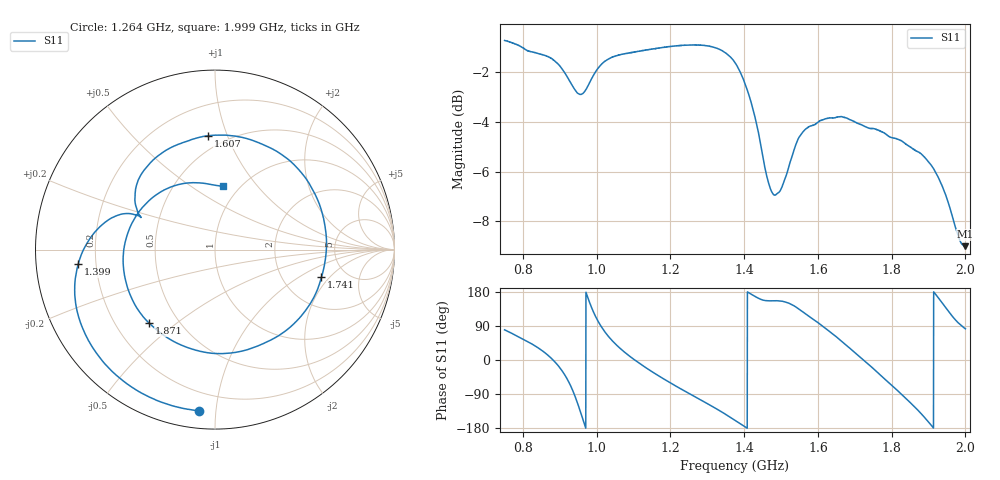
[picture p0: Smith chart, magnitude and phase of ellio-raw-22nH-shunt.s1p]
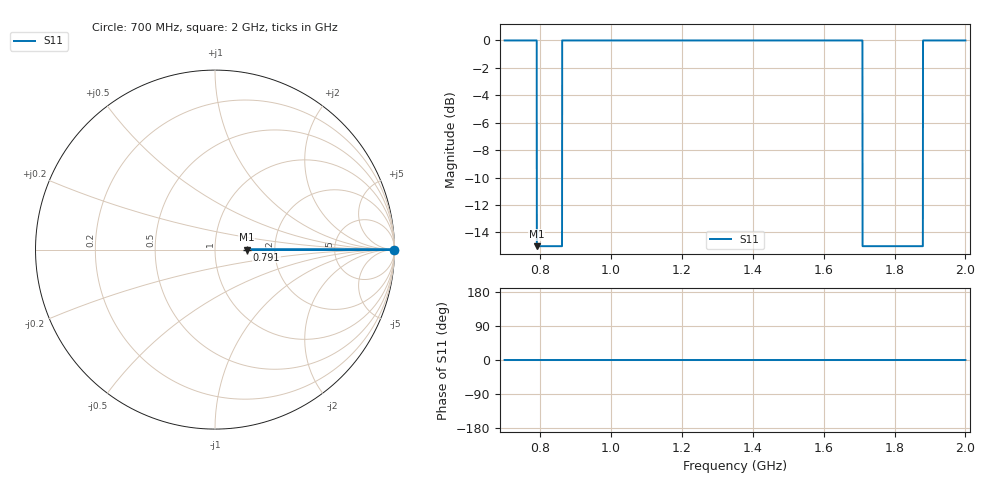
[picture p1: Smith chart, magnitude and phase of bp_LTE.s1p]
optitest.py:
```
import skrf as rf
from skrf.data import ring_slot
from skrf.plotting import save_all_figs
from scipy.optimize import minimize
import numpy as np
import matplotlib.pyplot as plt
from enum import Enum
from itertools import islice, product, zip_longest, combinations, repeat
import math
from multiprocessing import Pool
import time

class CompKey(Enum):
    SERIES = 1
    SHUNT = 2

class CompType(Enum):
    CAPACITOR = 1
    INDUCTOR = 2


Z_0 = 50
antenna = rf.Network('test/antenna/ellio-raw-22nH-shunt.s1p')
lte = rf.Network('test/bp_LTE.s1p')

# frequency band centered on the frequency of interest
frequency = antenna.frequency
# transmission line Media
line = rf.DefinedGammaZ0(frequency=frequency, z0=Z_0)
# load Network

Nfeval = 1

class Component:
    def __init__(self, netfun, initial_value, bounds, factor):
        self.netfun = netfun
        self.initial_value = initial_value
        self.bounds = bounds
        self.factor = factor

def parse_network_template_description(network_description):
    cap_bounds = (1e-12, 10e3)
    cap_bounds_shunt = (1e-12, 10e3)
    ind_bounds = (1e-12, 10e3)
    cap_initial = 1.5
    ind_initial = 1
    series_cap = Component(line.capacitor, cap_initial, cap_bounds, 1e-12)
    series_ind = Component(line.inductor, ind_initial, ind_bounds, 1e-9)
    shunt_cap  = Component(line.shunt_capacitor, cap_initial, cap_bounds_shunt, 1e-12)
    shunt_ind  = Component(line.shunt_inductor, ind_initial, ind_bounds, 1e-9)
    series_components = [series_cap, series_ind]
    shunt_components = [shunt_cap, shunt_ind]
    result = []
    for key in network_description:
        if key == CompKey.SERIES:
            result.append(series_components)
        elif key == CompKey.SHUNT:
            result.append(shunt_components)
    return result


# https://stackoverflow.com/questions/69368419/cartesian-product-with-specific-order
def _specific_order_cartesian(lists):
    its = [[lst[0]] for lst in lists]
    yield tuple(lst[0] for lst in lists)

    for column in list(islice(zip_longest(*lists), 1, None)):
        for i, p in reversed(list(enumerate(column))):
            if p is None:
                continue

            yield from product(
                *(
                    (p,) if j == i else its[j]
                    for j in range(len(lists))
                )
            )

            its[i].append(p)

def printx(Xi):
    global Nfeval
    global fout
    print('At iterate {0:4d}'.format(Nfeval) + '\n')
    Nfeval += 1


def matching_network(variation):
    def network(*args):
        net = variation[0].netfun(args[0] * variation[0].factor)
        i = 1
        for comp in variation[1:]:
            netfun = comp.netfun
            net = net ** netfun(args[i] * comp.factor)
            i += 1
        return net ** antenna
    return network

def get_starting_values(variation):
    starting_vals = ()
    for comp in variation:
        starting_vals = starting_vals + (comp.initial_value,)
    return starting_vals


def get_bounds(variation):
    bounds = ()
    for comp in variation:
        bounds = bounds + (comp.bounds,)
    return bounds


def objective_function(matching_net):
    def obj_fun(*args):
        _ntw = matching_net(*args)
        range1 = '791mhz-861mhz'
        range2 = '1710mhz-1880mhz'
        max_db_1 = max(rf.mathFunctions.complex_2_db(_ntw[range1].s11.s))[0][0]
        max_db_2 = max(rf.mathFunctions.complex_2_db(_ntw[range2].s11.s))[0][0]
        return -1 * max_db_1 * max_db_2
    return obj_fun


def objective_function_2(variation):
    def obj_fun(*args):
        net = variation[0].netfun(args[0][0] * variation[0].factor)
        i = 1
        for comp in variation[1:]:
            netfun = comp.netfun
            net = net ** netfun(args[0][i] * comp.factor)
            i += 1
        _ntw = net ** antenna

        range1 = '791mhz-861mhz'
        range2 = '1710mhz-1880mhz'
        max_db_1 = max(rf.mathFunctions.complex_2_db(_ntw[range1].s11.s))[0][0]
        max_db_2 = max(rf.mathFunctions.complex_2_db(_ntw[range2].s11.s))[0][0]
        return -1 * max_db_1 * max_db_2

    return obj_fun


def objective_function_3(variation):
    def obj_fun_loc(*args):
        net = variation[0].netfun(args[0][0] * variation[0].factor)
        i = 1
        for comp in variation[1:]:
            netfun = comp.netfun
            net = net ** netfun(args[0][i] * comp.factor)
            i += 1
        _ntw = net ** antenna

        range1 = '791mhz-861mhz'
        range2 = '1710mhz-1880mhz'
        max_db_1 = max(rf.mathFunctions.complex_2_db(_ntw[range1].s11.s))[0][0]
        max_db_2 = max(rf.mathFunctions.complex_2_db(_ntw[range2].s11.s))[0][0]
        min_db_1 = min(rf.mathFunctions.complex_2_db(_ntw[range1].s11.s))[0][0]
        min_db_2 = min(rf.mathFunctions.complex_2_db(_ntw[range2].s11.s))[0][0]

        return max_db_2 + max_db_1

    return obj_fun_loc


def sim_thread(variation):
    matching_net = matching_network(variation)
    x0 = get_starting_values(variation)
    bound = get_bounds(variation)
    res1 = minimize(objective_function_3(variation), x0, bounds=bound)#, callback = printx)
    ntw1 = matching_net(*res1.x)
    print(ntw1)
    print('------------')
    for comp in variation:
        print(comp.netfun)
    print(res1.x)
    print('------------')
    ntw1.plot_s_db(lw=2)
    return res1


def simulate(variations):
    p = Pool()
    result = p.map(sim_thread, variations)
    for res in result:
        print(res)
    #
    #for variation in variations:
    #    result = sim_thread(variation)

if __name__ == '__main__':
    start_time = time.time()
    network_description = [CompKey.SERIES, CompKey.SHUNT, CompKey.SERIES]
    variation_template = parse_network_template_description(network_description)
    variations = _specific_order_cartesian(variation_template)
    simulate(variations)
    lte.plot_s_db(lw=2)
    save_all_figs('./plots', format=['pdf'])
    end_time = time.time()

    print('--- finished in %s seconds ---' % (str(end_time - start_time)))
```
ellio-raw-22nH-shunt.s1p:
!Keysight Technologies,P9371A,MY57212015,A.15.65.19
!Date: Monday, November 07, 2022 15:14:39
!Correction: S11(C  1-Port  )
!S1P File: Measurement: S11:
# Hz S  dB  R 50
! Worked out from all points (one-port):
!   2601 points, 750 MHz to 2 GHz, reference 50 ohm
!   lowest |S11| = -9.0 dB at 2 GHz (marker M1), VSWR 2.10, Z = 42.4 + j34.1 ohm
!   |S11| at or under -10 dB: nowhere
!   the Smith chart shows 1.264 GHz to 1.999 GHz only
!   S11 on the Smith chart (normalised r, x): 1.264 GHz: 0.09, -0.90; 1.399 GHz: 0.13, -0.05; 1.607 GHz: 0.40, +0.86; 1.741 GHz: 3.29, -1.63; 1.871 GHz: 0.34, -0.40; 1.999 GHz: 0.84, +0.68
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7.5e8  -0.71 79.6
8.908653e8  -1.60 -9.9
9.389422e8  -2.66 -90.5
9.721153e8  -2.65 174.6
1.020192e9  -1.57 76.6
1.166827e9  -1.02 -41.2
1.263942e9  -0.89 -95.7
1.398557e9  -2.31 -174.0
1.583653e9  -4.14 109.7
1.607211e9  -3.93 93.4
1.740865e9  -4.26 -14.6
1.870673e9  -5.19 -131.9
1.999038e9  -9.00 83.0
1.999999e9  -9.00 82.3
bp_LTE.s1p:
# Hz S  dB  R 50
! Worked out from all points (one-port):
!   2601 points, 700 MHz to 2 GHz, reference 50 ohm
!   lowest |S11| = -15.0 dB at 791 MHz (marker M1), VSWR 1.43, Z = 71.6 + j0 ohm
!   |S11| at or under -10 dB: 790.8 MHz to 862.2 MHz (71.33 MHz wide, 8.63 % of centre); 1.71 GHz to 1.88 GHz (170.3 MHz wide, 9.49 % of centre)
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7e8  0.00 0.0
7.84e8  0.00 0.0
7.91e8  -15.00 0.0
7.975e8  -15.00 0.0
8.555e8  -15.00 0.0
8.65e8  0.00 0.0
8.69e8  0.00 0.0
1.1335e9  0.00 0.0
1.567e9  0.00 0.0
1.703e9  0.00 0.0
1.7165e9  -15.00 0.0
1.8735e9  -15.00 0.0
1.887e9  0.00 0.0
2e9  0.00 0.0
